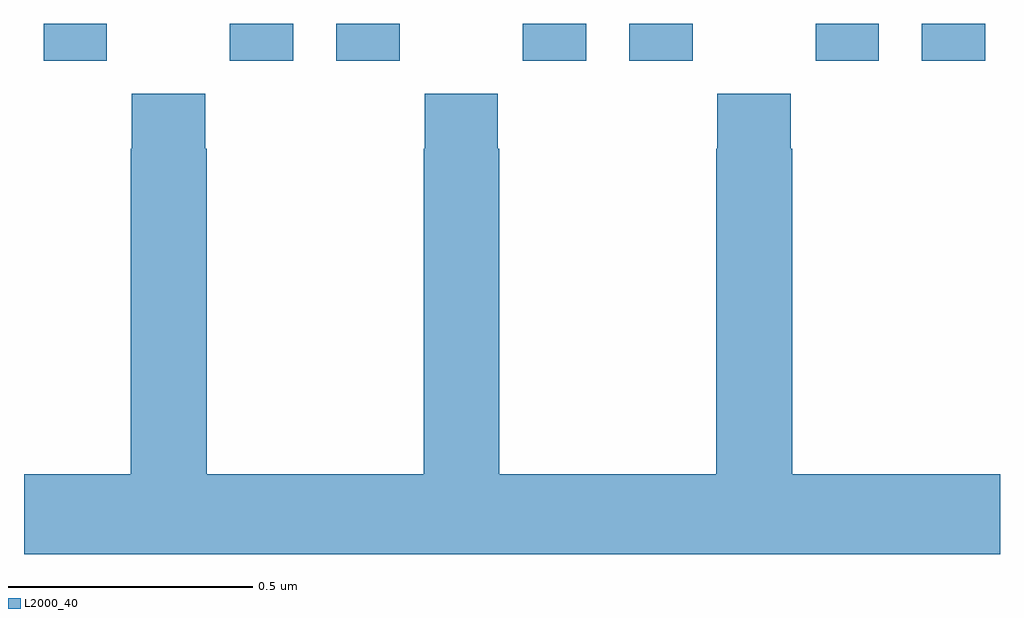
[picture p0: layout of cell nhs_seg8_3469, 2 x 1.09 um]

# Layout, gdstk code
import gdstk
lib = gdstk.Library(unit=1e-6, precision=1e-09)
def R(c, l, rs):  # rectangles x0, y0, x1, y1
    for r in rs: c.add(gdstk.rectangle(r[:2], r[2:], *l))
def P(c, l, *ps):  # polygons
    for p in ps: c.add(gdstk.Polygon(p, *l))
L2000_40 = (2000, 40)

nhs_seg8_3469 = lib.new_cell('nhs_seg8_3469')
R(nhs_seg8_3469, L2000_40, [(157.04,1138.824,157.17,1138.9), (157.422,1138.824,157.552,1138.9), (157.64,1138.824,157.77,1138.9), (158.022,1138.824,158.152,1138.9), (158.24,1138.824,158.37,1138.9), (158.622,1138.824,158.752,1138.9), (158.84,1138.824,158.97,1138.9)])
P(nhs_seg8_3469, L2000_40, [(159,1137.976),(158.574,1137.976),(158.574,1138.643),(158.571,1138.643),(158.571,1138.756),(158.421,1138.756),(158.421,1138.643),(158.419,1138.643),(158.419,1137.976),(157.974,1137.976),(157.974,1138.643),(157.971,1138.643),(157.971,1138.756),(157.821,1138.756),(157.821,1138.643),(157.819,1138.643),(157.819,1137.976),(157.374,1137.976),(157.374,1138.643),(157.371,1138.643),(157.371,1138.756),(157.221,1138.756),(157.221,1138.643),(157.219,1138.643),(157.219,1137.976),(157,1137.976),(157,1137.812),(159,1137.812)])

lib.write_gds('nhs_seg8_3469.gds')
